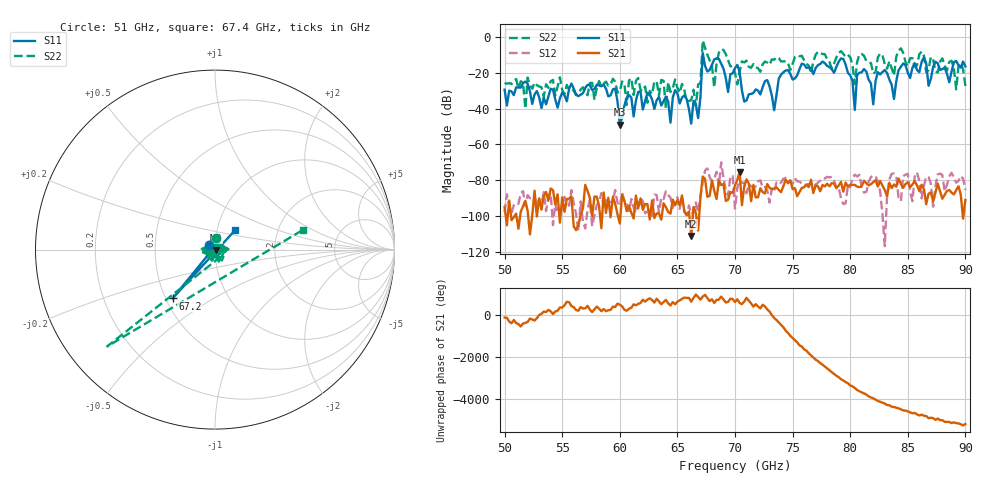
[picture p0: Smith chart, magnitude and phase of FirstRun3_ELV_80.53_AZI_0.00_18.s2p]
! 11/24/2026 3:35:21 PM
! C:\ANRITSUVNA\TEMP\TEMP.S2P
! CHANNEL.1
! TR.MEASUREMENT
! RAW.DATA
# HZ S RI R 50.0
! FREQ.HZ  S11RE  S11IM  S21RE  S21IM  S12RE  S12IM  S22RE  S22IM
!; PortSelection: Port_12
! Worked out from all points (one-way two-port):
!   201 points, 50 GHz to 90 GHz, reference 50 ohm
!   highest |S21| = -75.33 dB at 70.4 GHz (marker M1); lowest = -111.2 dB at 66.2 GHz (marker M2)
!   lowest |S11| = -48.9 dB at 60 GHz (marker M3), VSWR 1.01, Z = 50.3 - j0.155 ohm
!   |S11| at or under -10 dB: start of sweep to 67.19 GHz; 67.23 GHz to end of sweep
!   |S22| runs from -40.0 to -1.9 dB; largest |S21 - S12| = 0.00039
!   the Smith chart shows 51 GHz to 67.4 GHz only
!   S11 on the Smith chart (normalised r, x): 51 GHz: 0.94, +0.05; 67.2 GHz: 0.54, -0.34; 67.4 GHz: 1.22, +0.27
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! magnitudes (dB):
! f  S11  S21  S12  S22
! 50 GHz  -29.4  -95.0  -97.9  -25.6
! 51 GHz  -28.1  -98.7  -92.8  -23.4
! 56.8 GHz  -31.4  -95.7  -103.4  -28.1
! 59.6 GHz  -28.8  -93.3  -85.5  -25.0
! 60 GHz  -48.9  -104.2  -94.5  -30.5
! 63.4 GHz  -33.4  -98.6  -98.0  -32.6
! 66.2 GHz  -48.3  -111.2  -98.9  -35.2
! 66.8 GHz  -45.3  -108.2  -98.1  -26.5
! 67.2 GHz  -8.9  -77.9  -81.3  -1.9
! 67.4 GHz  -16.1  -79.3  -74.5  -5.9
! 68.2 GHz  -12.5  -85.9  -79.3  -28.1
! 68.8 GHz  -14.8  -82.7  -70.0  -6.7
! 70 GHz  -17.4  -82.9  -95.9  -19.9
! 70.4 GHz  -19.4  -75.3  -80.2  -19.3
! 73.4 GHz  -40.9  -84.7  -86.5  -12.6
! 74.2 GHz  -19.7  -83.3  -79.2  -13.5
! 76.8 GHz  -20.7  -87.1  -81.4  -13.6
! 79.4 GHz  -12.2  -86.4  -93.3  -9.4
! 80.4 GHz  -40.7  -82.6  -76.9  -26.2
! 80.6 GHz  -21.0  -83.6  -77.9  -14.0
! 83.4 GHz  -23.7  -81.5  -79.6  -13.5
! 90 GHz  -16.4  -91.0  -85.5  -27.3
